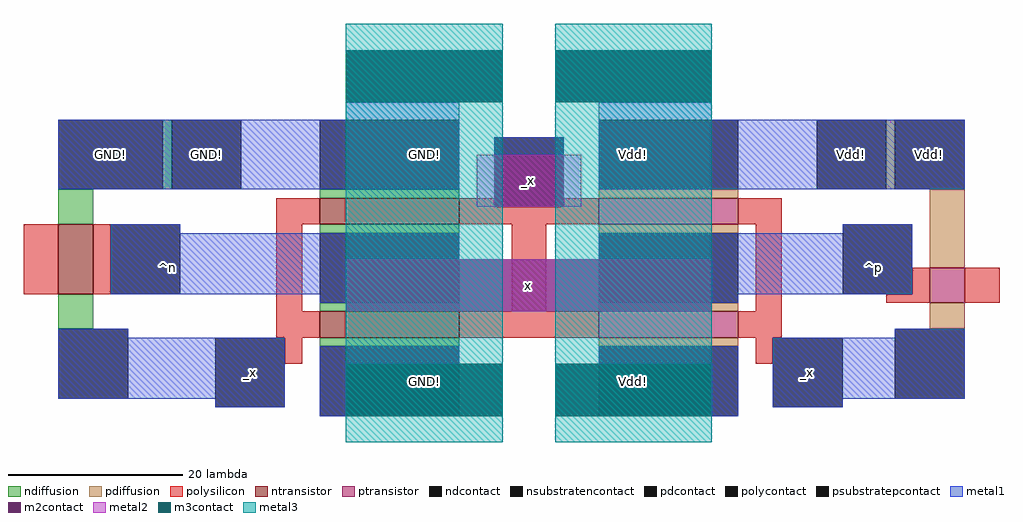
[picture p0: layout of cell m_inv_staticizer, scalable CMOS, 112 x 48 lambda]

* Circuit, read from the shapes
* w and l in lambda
.subckt m_inv_staticizer GND! Vdd! _x x
M1 GND! x _x GND! nfet w=4 l=8
M2 x _x GND! GND! nfet w=16 l=3 m=2
M3 x _x Vdd! Vdd! pfet w=16 l=3 m=2
M4 Vdd! x _x Vdd! pfet w=4 l=4
.ends

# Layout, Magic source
magic
tech scmos
<< ndiffusion >>
rect -42 94 -41 102
rect -54 90 -50 94
rect -24 93 -8 94
rect -54 78 -50 82
rect -24 89 -8 90
rect -24 80 -8 81
rect -24 76 -8 77
<< pdiffusion >>
rect 41 94 42 102
rect 8 93 24 94
rect 8 89 24 90
rect 8 80 24 81
rect 46 85 50 94
rect 46 78 50 81
rect 8 76 24 77
<< ntransistor >>
rect -24 90 -8 93
rect -54 82 -50 90
rect -24 77 -8 80
<< ptransistor >>
rect 8 90 24 93
rect 46 81 50 85
rect 8 77 24 80
<< polysilicon >>
rect -29 90 -24 93
rect -8 92 -4 93
rect 4 92 8 93
rect -8 90 8 92
rect 24 90 29 93
rect -58 82 -54 90
rect -50 82 -48 90
rect -29 80 -26 90
rect -2 80 2 90
rect 26 80 29 90
rect 44 82 46 85
rect 41 81 46 82
rect 50 81 54 85
rect -29 77 -24 80
rect -8 77 8 80
rect 24 77 29 80
rect -28 74 -26 77
rect 26 74 28 77
<< ndcontact >>
rect -54 94 -42 102
rect -24 94 -8 102
rect -24 81 -8 89
rect -54 70 -46 78
rect -24 68 -8 76
<< pdcontact >>
rect 8 94 24 102
rect 42 94 50 102
rect 8 81 24 89
rect 8 68 24 76
rect 42 70 50 78
<< psubstratepcontact >>
rect -41 94 -33 102
<< nsubstratencontact >>
rect 33 94 41 102
<< polycontact >>
rect -4 92 4 100
rect -48 82 -40 90
rect 36 82 44 90
rect -36 69 -28 77
rect 28 69 36 77
<< metal1 >>
rect -21 102 -8 104
rect -54 94 -8 102
rect 8 102 21 104
rect -4 98 4 100
rect 8 94 50 102
rect -48 89 -40 90
rect 36 89 44 90
rect -48 86 -8 89
rect 8 86 44 89
rect -48 82 -21 86
rect -24 81 -21 82
rect 21 82 44 86
rect 21 81 24 82
rect -54 77 -46 78
rect 42 77 50 78
rect -54 70 -28 77
rect -36 69 -28 70
rect -24 74 -8 76
rect 8 74 24 76
rect -24 68 -21 74
rect 21 68 24 74
rect 28 70 50 77
rect 28 69 36 70
<< m2contact >>
rect -21 104 -3 110
rect 3 104 21 110
rect -4 92 4 98
rect -21 80 21 86
rect -21 68 -3 74
rect 3 68 21 74
<< metal2 >>
rect -6 92 6 98
rect -21 80 21 86
<< m3contact >>
rect -21 104 -3 110
rect 3 104 21 110
rect -21 68 -3 74
rect 3 68 21 74
<< metal3 >>
rect -21 65 -3 113
rect 3 65 21 113
<< labels >>
rlabel ndcontact -12 72 -12 72 1 GND!
rlabel pdcontact 12 72 12 72 1 Vdd!
rlabel pdcontact 12 98 12 98 5 Vdd!
rlabel ndcontact -12 98 -12 98 5 GND!
rlabel metal1 32 73 32 73 5 _x
rlabel metal1 -32 73 -32 73 5 _x
rlabel metal1 -37 98 -37 98 1 GND!
rlabel metal1 -48 98 -48 98 1 GND!
rlabel metal1 46 98 46 98 5 Vdd!
rlabel metal1 37 98 37 98 1 Vdd!
rlabel space -59 67 -24 103 7 ^n
rlabel metal2 0 80 0 86 1 x
rlabel metal2 0 92 0 98 1 _x
rlabel space 24 67 55 103 3 ^p
<< end >>
